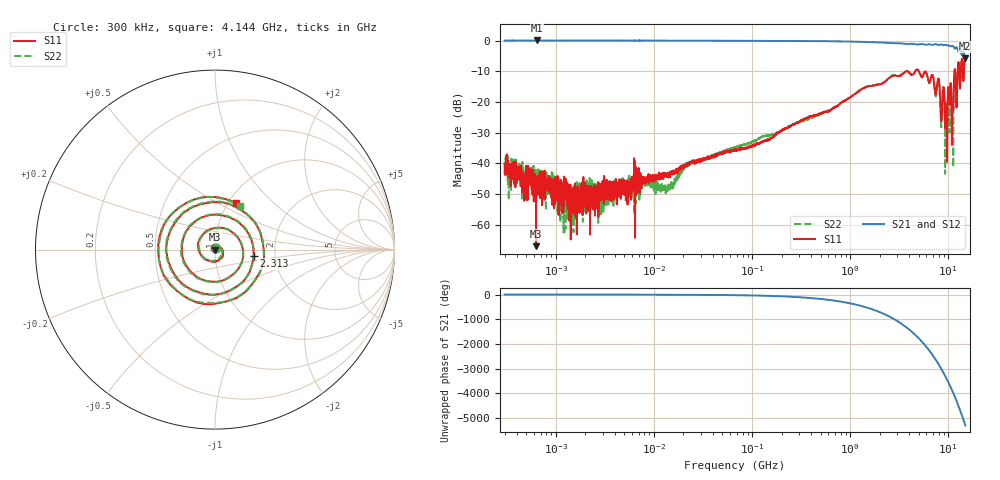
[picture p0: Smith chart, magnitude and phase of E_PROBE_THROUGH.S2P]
!Agilent Technologies,E5071C,MY46522545,B.13.01
!Date: Tue Sep 24 16:45:52 2019
!Data & Calibration Information:
!Freq	S11:SOLT2(ON)	S21:SOLT2(ON)	S12:SOLT2(ON)	S22:SOLT2(ON)
!PortZ  Port1:50+j0  Port2:50+j0
!Above PortZ is port z conversion or system Z0 setting when saving the data.
!When reading, reference impedance value at option line is always used.
!Created with skrf (http://scikit-rf.org).
# Hz S RI R 50.0
!freq ReS11 ImS11 ReS21 ImS21 ReS12 ImS12 ReS22 ImS22
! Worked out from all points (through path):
!   3500 points, 300 kHz to 15 GHz, reference 50 ohm
!   highest |S21| = 0.04 dB at 639.1 kHz (marker M1); lowest = -5.7 dB at 14.88 GHz (marker M2)
!   group delay of S21, straight-line fit = 983 ps
!   lowest |S11| = -67.0 dB at 628.5 kHz (marker M3), VSWR 1.00, Z = 50 + j0.0391 ohm
!   |S11| at or under -10 dB: start of sweep to 3.718 GHz; 3.906 GHz to 4.615 GHz (708.4 MHz wide, 16.6 % of centre); 5.044 GHz to 11.6 GHz (6.552 GHz wide, 78.7 % of centre)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
!   |S22| runs from -63.1 to -6.3 dB; largest |S21 - S12| = 0.009
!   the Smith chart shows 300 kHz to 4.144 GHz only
!   S11 on the Smith chart (normalised r, x): 300 kHz: 1.00, +0.01; 2.313 GHz: 1.54, -0.11; 4.144 GHz: 1.08, +0.61
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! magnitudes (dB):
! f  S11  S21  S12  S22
! 300 kHz  -43.1  0.0  0.0  -39.5
! 628.5 kHz  -67.0  0.0  0.0  -45.3
! 639.1 kHz  -49.5  0.0  0.0  -44.4
! 895.8 kHz  -46.4  0.0  0.0  -45.1
! 1.247 MHz  -45.5  0.0  0.0  -53.7
! 1.821 MHz  -50.7  0.0  0.0  -48.2
! 11.07 MHz  -44.4  0.0  0.0  -48.8
! 14.92 MHz  -43.0  0.0  0.0  -46.6
! 23.9 MHz  -39.9  0.0  0.0  -39.4
! 67.24 MHz  -35.7  -0.1  -0.1  -35.1
! 407.6 MHz  -24.5  -0.2  -0.2  -25.1
! 2.313 GHz  -13.2  -0.7  -0.7  -13.1
! 2.475 GHz  -12.4  -0.8  -0.8  -12.2
! 4.144 GHz  -10.9  -1.1  -1.1  -11.0
! 6.883 GHz  -11.4  -1.4  -1.4  -11.3
! 9.609 GHz  -22.7  -1.4  -1.5  -21.3
! 10.35 GHz  -20.8  -1.6  -1.6  -27.2
! 10.72 GHz  -15.1  -1.8  -1.8  -15.4
! 11.59 GHz  -10.0  -2.5  -2.5  -10.3
! 12.19 GHz  -21.9  -2.1  -2.2  -22.0
! 14.88 GHz  -5.3  -5.7  -5.7  -6.4
! 15 GHz  -5.7  -5.6  -5.5  -6.4
